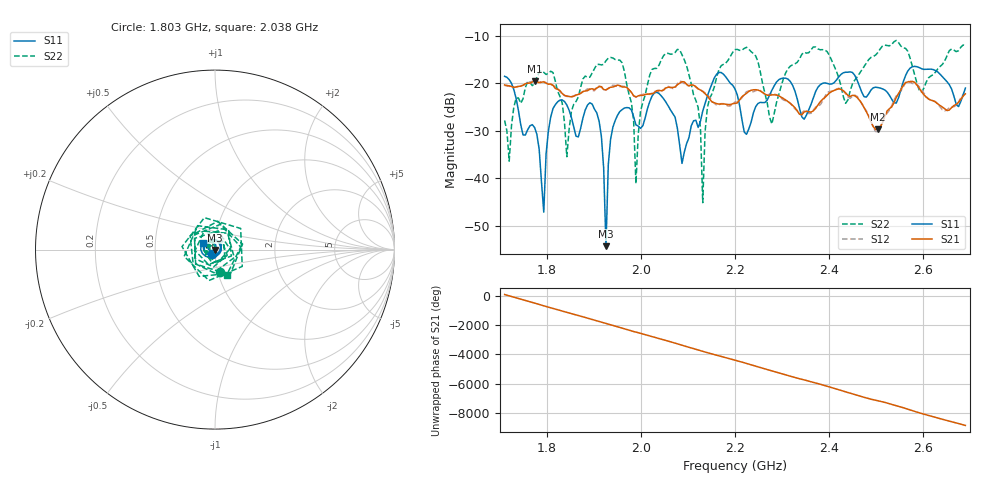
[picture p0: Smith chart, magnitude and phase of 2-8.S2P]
!Agilent Technologies,E5061B,MY49305579,A.02.22
!Date: Thu Aug 24 16:28:10 2017
!Data & Calibration Information:
!Freq	S11:SOLT2(ON)	S21:SOLT2(ON)	S12:SOLT2(ON)	S22:SOLT2(ON)
# Hz S dB R 50
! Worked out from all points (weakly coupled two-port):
!   201 points, 1.71 GHz to 2.69 GHz, reference 50 ohm
!   highest |S21| = -19.51 dB at 1.774 GHz (marker M1); lowest = -29.7 dB at 2.504 GHz (marker M2)
!   lowest |S11| = -54.4 dB at 1.926 GHz (marker M3), VSWR 1.00, Z = 50 - j0.188 ohm
!   |S11| at or under -10 dB: start of sweep to end of sweep
!   |S22| runs from -45.2 to -10.9 dB; largest |S21 - S12| = 0.006
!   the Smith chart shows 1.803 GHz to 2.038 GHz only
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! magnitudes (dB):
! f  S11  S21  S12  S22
! 1.71 GHz  -18.5  -20.3  -20.5  -27.8
! 1.774 GHz  -29.3  -19.5  -19.7  -20.0
! 1.793 GHz  -47.2  -19.7  -19.6  -17.7
! 1.813 GHz  -25.3  -20.4  -20.4  -17.7
! 1.842 GHz  -24.6  -22.7  -22.8  -35.5
! 1.877 GHz  -27.3  -21.7  -21.8  -19.1
! 1.911 GHz  -28.0  -20.7  -20.6  -16.0
! 1.926 GHz  -54.4  -21.4  -21.4  -15.2
! 1.94 GHz  -29.2  -20.8  -20.4  -14.6
! 1.98 GHz  -25.6  -21.9  -21.9  -24.0
! 1.989 GHz  -28.8  -22.9  -22.9  -41.1
! 2.038 GHz  -22.1  -21.5  -21.8  -16.2
! 2.097 GHz  -32.7  -20.2  -20.4  -16.3
! 2.122 GHz  -29.3  -21.1  -21.2  -25.1
! 2.131 GHz  -25.8  -21.7  -21.6  -45.2
! 2.141 GHz  -22.7  -22.7  -22.4  -25.2
! 2.2 GHz  -21.2  -24.2  -23.9  -12.9
! 2.278 GHz  -21.5  -22.4  -22.2  -28.6
! 2.367 GHz  -23.1  -25.8  -25.7  -12.3
! 2.504 GHz  -20.9  -29.7  -30.2  -13.5
! 2.528 GHz  -22.5  -25.4  -25.7  -12.1
! 2.69 GHz  -21.0  -22.2  -22.2  -12.1
